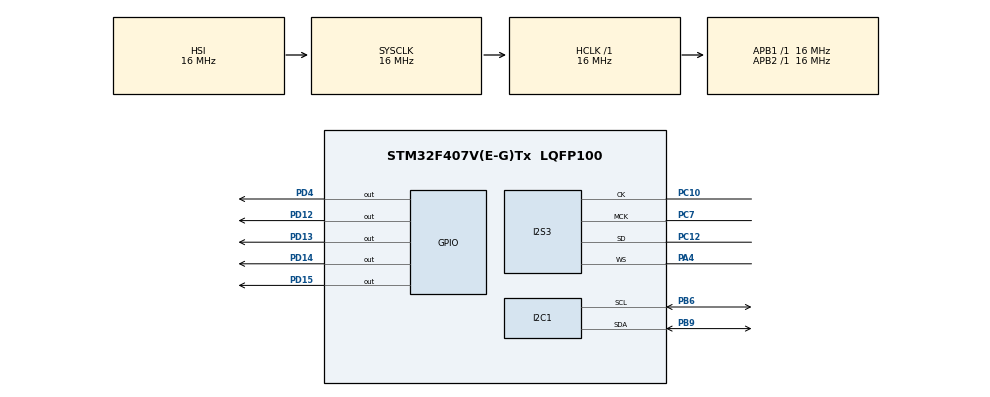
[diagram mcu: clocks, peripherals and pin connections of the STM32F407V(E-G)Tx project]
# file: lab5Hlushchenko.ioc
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Dma.Request0=SPI3_TX
Dma.SPI3_TX.0.Direction=DMA_MEMORY_TO_PERIPH
Dma.SPI3_TX.0.FIFOMode=DMA_FIFOMODE_ENABLE
Dma.SPI3_TX.0.FIFOThreshold=DMA_FIFO_THRESHOLD_FULL
Dma.SPI3_TX.0.Instance=DMA1_Stream5
Dma.SPI3_TX.0.MemBurst=DMA_MBURST_SINGLE
Dma.SPI3_TX.0.MemDataAlignment=DMA_MDATAALIGN_HALFWORD
Dma.SPI3_TX.0.MemInc=DMA_MINC_ENABLE
Dma.SPI3_TX.0.Mode=DMA_CIRCULAR
Dma.SPI3_TX.0.PeriphBurst=DMA_PBURST_SINGLE
Dma.SPI3_TX.0.PeriphDataAlignment=DMA_PDATAALIGN_HALFWORD
Dma.SPI3_TX.0.PeriphInc=DMA_PINC_DISABLE
Dma.SPI3_TX.0.Priority=DMA_PRIORITY_LOW
I2S3.AudioFreq=I2S_AUDIOFREQ_48K
I2S3.ErrorAudioFreq=-2.34 %
I2S3.FullDuplexMode=I2S_FULLDUPLEXMODE_DISABLE
I2S3.Instance=SPI$Index
I2S3.RealAudioFreq=46.875 KHz
I2S3.VirtualMode=I2S_MODE_MASTER
Mcu.Family=STM32F4
Mcu.Name=STM32F407V(E-G)Tx
Mcu.Package=LQFP100
NVIC.DMA1_Stream5_IRQn=true\:0\:0\:false\:false\:true\:false\:true\:true
NVIC.PriorityGroup=NVIC_PRIORITYGROUP_4
PA4.Mode=Half_Duplex_Master
PA4.Signal=I2S3_WS
PB6.Mode=I2C
PB6.Signal=I2C1_SCL
PB9.Mode=I2C
PB9.Signal=I2C1_SDA
PC10.Mode=Half_Duplex_Master
PC10.Signal=I2S3_CK
PC12.Mode=Half_Duplex_Master
PC12.Signal=I2S3_SD
PC7.Mode=Master_Clock_Activated
PC7.Signal=I2S3_MCK
PD12.Signal=GPIO_Output
PD13.Signal=GPIO_Output
PD14.Signal=GPIO_Output
PD15.Signal=GPIO_Output
PD4.Signal=GPIO_Output
ProjectManager.HeapSize=0x200
ProjectManager.StackSize=0x400
ProjectManager.TargetToolchain=STM32CubeIDE
RCC.AHBFreq_Value=16000000
RCC.APB1Freq_Value=16000000
RCC.APB2Freq_Value=16000000
RCC.CortexFreq_Value=16000000
RCC.HSE_VALUE=25000000
RCC.HSI_VALUE=16000000
RCC.LSE_VALUE=32768
RCC.SYSCLKFreq_VALUE=16000000
RCC.VCOOutputFreq_Value=192000000
board=custom

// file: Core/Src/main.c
/* USER CODE BEGIN Header */
/**
  ******************************************************************************
  * @file           : main.c
  * @brief          : Enhanced Music + LED Effects Controller
  * @description    : Plays musical melody with synchronized LED patterns
  ******************************************************************************
  */
/* USER CODE END Header */

#include "main.h"

/* USER CODE BEGIN PTD */
typedef enum {
    NOTE_C4, NOTE_C5, NOTE_D5, NOTE_E5,
    NOTE_F5, NOTE_G5, NOTE_A5, NOTE_B5,
    NOTE_C6, NOTE_D6, NOTE_E6, NOTE_F6,
    NOTE_G6, NOTE_A6, NOTE_B6, NOTES_MAX
} MusicNoteType;
/* USER CODE END PTD */

/* USER CODE BEGIN PD */
#define CS43L22_I2C_ADDRESS     0x94
#define I2C_COMMUNICATION_TIMEOUT    10

// LED Pin Definitions
#define LED_GREEN_PIN           GPIO_PIN_12
#define LED_ORANGE_PIN          GPIO_PIN_13
#define LED_RED_PIN             GPIO_PIN_14
#define LED_BLUE_PIN            GPIO_PIN_15
#define ALL_LEDS_MASK          (LED_GREEN_PIN | LED_ORANGE_PIN | LED_RED_PIN | LED_BLUE_PIN)
#define AUDIO_ENABLE_PIN        GPIO_PIN_4
/* USER CODE END PD */

I2C_HandleTypeDef hi2c1;
I2S_HandleTypeDef hi2s3;
DMA_HandleTypeDef hdma_spi3_tx;

/* USER CODE BEGIN PV */
int16_t audioBuffer[100] = {0};

// Musical timing constants
const uint32_t FULL_NOTE_DURATION = 214;
const uint32_t HALF_NOTE_DURATION = FULL_NOTE_DURATION >> 1;
const uint32_t QUARTER_NOTE_DURATION = FULL_NOTE_DURATION >> 2;

// Playback control variables
uint8_t melodyPlayCount = 0;
const uint8_t MAX_MELODY_PLAYS = 3;
/* USER CODE END PV */

void SystemClock_Config(void);
static void MX_GPIO_Init(void);
static void MX_DMA_Init(void);
static void MX_I2C1_Init(void);
static void MX_I2S3_Init(void);

/* USER CODE BEGIN PFP */
void AudioCodec_Initialize(void);
void AudioCodec_PlayTone(MusicNoteType note, uint32_t durationMs);
void LED_TurnOn(uint16_t ledPin);
void LED_TurnOff(uint16_t ledPin);
void LED_TurnOnAll(void);
void LED_TurnOffAll(void);
void PlayMelodyWithLEDs(void);
void RunLEDOnlyMode(void);
/* USER CODE END PFP */

/* USER CODE BEGIN 0 */

/**
 * @brief Initialize CS43L22 Audio Codec
 */
void AudioCodec_Initialize(void) {
    // Enable audio codec chip
    HAL_GPIO_WritePin(GPIOD, AUDIO_ENABLE_PIN, GPIO_PIN_SET);

    uint8_t configBuffer[2];

    // Audio codec initialization sequence
    configBuffer[0] = 0x0D; configBuffer[1] = 0x01;
    HAL_I2C_Master_Transmit(&hi2c1, CS43L22_I2C_ADDRESS, configBuffer, 2, I2C_COMMUNICATION_TIMEOUT);

    configBuffer[0] = 0x00; configBuffer[1] = 0x99;
    HAL_I2C_Master_Transmit(&hi2c1, CS43L22_I2C_ADDRESS, configBuffer, 2, I2C_COMMUNICATION_TIMEOUT);

    configBuffer[0] = 0x47; configBuffer[1] = 0x80;
    HAL_I2C_Master_Transmit(&hi2c1, CS43L22_I2C_ADDRESS, configBuffer, 2, I2C_COMMUNICATION_TIMEOUT);

    configBuffer[0] = 0x32; configBuffer[1] = 0xFF;
    HAL_I2C_Master_Transmit(&hi2c1, CS43L22_I2C_ADDRESS, configBuffer, 2, I2C_COMMUNICATION_TIMEOUT);

    configBuffer[0] = 0x32; configBuffer[1] = 0x7F;
    HAL_I2C_Master_Transmit(&hi2c1, CS43L22_I2C_ADDRESS, configBuffer, 2, I2C_COMMUNICATION_TIMEOUT);

    configBuffer[0] = 0x00; configBuffer[1] = 0x00;
    HAL_I2C_Master_Transmit(&hi2c1, CS43L22_I2C_ADDRESS, configBuffer, 2, I2C_COMMUNICATION_TIMEOUT);

    configBuffer[0] = 0x04; configBuffer[1] = 0xAF;
    HAL_I2C_Master_Transmit(&hi2c1, CS43L22_I2C_ADDRESS, configBuffer, 2, I2C_COMMUNICATION_TIMEOUT);

    configBuffer[0] = 0x0D; configBuffer[1] = 0x70;
    HAL_I2C_Master_Transmit(&hi2c1, CS43L22_I2C_ADDRESS, configBuffer, 2, I2C_COMMUNICATION_TIMEOUT);

    configBuffer[0] = 0x05; configBuffer[1] = 0x81;
    HAL_I2C_Master_Transmit(&hi2c1, CS43L22_I2C_ADDRESS, configBuffer, 2, I2C_COMMUNICATION_TIMEOUT);

    configBuffer[0] = 0x06; configBuffer[1] = 0x07;
    HAL_I2C_Master_Transmit(&hi2c1, CS43L22_I2C_ADDRESS, configBuffer, 2, I2C_COMMUNICATION_TIMEOUT);

    configBuffer[0] = 0x0A; configBuffer[1] = 0x00;
    HAL_I2C_Master_Transmit(&hi2c1, CS43L22_I2C_ADDRESS, configBuffer, 2, I2C_COMMUNICATION_TIMEOUT);

    configBuffer[0] = 0x27; configBuffer[1] = 0x00;
    HAL_I2C_Master_Transmit(&hi2c1, CS43L22_I2C_ADDRESS, configBuffer, 2, I2C_COMMUNICATION_TIMEOUT);

    configBuffer[0] = 0x1A; configBuffer[1] = 0x0A;
    HAL_I2C_Master_Transmit(&hi2c1, CS43L22_I2C_ADDRESS, configBuffer, 2, I2C_COMMUNICATION_TIMEOUT);

    configBuffer[0] = 0x1B; configBuffer[1] = 0x0A;
    HAL_I2C_Master_Transmit(&hi2c1, CS43L22_I2C_ADDRESS, configBuffer, 2, I2C_COMMUNICATION_TIMEOUT);

    configBuffer[0] = 0x1F; configBuffer[1] = 0x0F;
    HAL_I2C_Master_Transmit(&hi2c1, CS43L22_I2C_ADDRESS, configBuffer, 2, I2C_COMMUNICATION_TIMEOUT);

    configBuffer[0] = 0x02; configBuffer[1] = 0x9E;
    HAL_I2C_Master_Transmit(&hi2c1, CS43L22_I2C_ADDRESS, configBuffer, 2, I2C_COMMUNICATION_TIMEOUT);
}

/**
 * @brief Play a musical tone through the audio codec
 * @param note: Musical note to play
 * @param durationMs: Duration in milliseconds
 */
void AudioCodec_PlayTone(MusicNoteType note, uint32_t durationMs) {
    uint8_t commandBuffer[2];

    // Configure volume and off time
    commandBuffer[0] = 0x1D;
    commandBuffer[1] = 0x00;
    HAL_I2C_Master_Transmit(&hi2c1, CS43L22_I2C_ADDRESS, commandBuffer, 2, I2C_COMMUNICATION_TIMEOUT);

    // Set sound frequency based on note
    commandBuffer[0] = 0x1C;
    commandBuffer[1] = (note << 4);
    HAL_I2C_Master_Transmit(&hi2c1, CS43L22_I2C_ADDRESS, commandBuffer, 2, I2C_COMMUNICATION_TIMEOUT);

    // Enable continuous tone mode
    commandBuffer[0] = 0x1E;
    commandBuffer[1] = 0xC0;
    HAL_I2C_Master_Transmit(&hi2c1, CS43L22_I2C_ADDRESS, commandBuffer, 2, I2C_COMMUNICATION_TIMEOUT);

    // Play tone for specified duration
    HAL_Delay(durationMs);

    // Disable continuous tone mode
    commandBuffer[0] = 0x1E;
    commandBuffer[1] = 0x00;
    HAL_I2C_Master_Transmit(&hi2c1, CS43L22_I2C_ADDRESS, commandBuffer, 2, I2C_COMMUNICATION_TIMEOUT);
}

/**
 * @brief Turn on specific LED
 */
void LED_TurnOn(uint16_t ledPin) {
    HAL_GPIO_WritePin(GPIOD, ledPin, GPIO_PIN_SET);
}

/**
 * @brief Turn off specific LED
 */
void LED_TurnOff(uint16_t ledPin) {
    HAL_GPIO_WritePin(GPIOD, ledPin, GPIO_PIN_RESET);
}

/**
 * @brief Turn on all LEDs
 */
void LED_TurnOnAll(void) {
    HAL_GPIO_WritePin(GPIOD, ALL_LEDS_MASK, GPIO_PIN_SET);
}

/**
 * @brief Turn off all LEDs
 */
void LED_TurnOffAll(void) {
    HAL_GPIO_WritePin(GPIOD, ALL_LEDS_MASK, GPIO_PIN_RESET);
}

/**
 * @brief Run LED-only animation mode (after melody completion)
 */
void RunLEDOnlyMode(void) {
    // Sequential LED turn-on pattern
    LED_TurnOn(LED_GREEN_PIN);
    HAL_Delay(250);
    LED_TurnOn(LED_ORANGE_PIN);
    HAL_Delay(250);
    LED_TurnOn(LED_RED_PIN);
    HAL_Delay(250);
    LED_TurnOn(LED_BLUE_PIN);
    HAL_Delay(250);

    // Sequential LED turn-off pattern
    LED_TurnOff(LED_BLUE_PIN);
    HAL_Delay(250);
    LED_TurnOff(LED_RED_PIN);
    HAL_Delay(250);
    LED_TurnOff(LED_ORANGE_PIN);
    HAL_Delay(250);
    LED_TurnOff(LED_GREEN_PIN);
    HAL_Delay(250);
}

/**
 * @brief Play complete melody with synchronized LED effects
 */
void PlayMelodyWithLEDs(void) {
    // First phrase: C5-D5-E5-C5 (twice)
    for (int phrase = 0; phrase < 2; phrase++) {
        LED_TurnOn(LED_GREEN_PIN);
        AudioCodec_PlayTone(NOTE_C5, QUARTER_NOTE_DURATION);
        LED_TurnOff(LED_GREEN_PIN);
        HAL_Delay(QUARTER_NOTE_DURATION);

        LED_TurnOn(LED_ORANGE_PIN);
        AudioCodec_PlayTone(NOTE_D5, QUARTER_NOTE_DURATION);
        LED_TurnOff(LED_ORANGE_PIN);
        HAL_Delay(QUARTER_NOTE_DURATION);

        LED_TurnOn(LED_RED_PIN);
        AudioCodec_PlayTone(NOTE_E5, QUARTER_NOTE_DURATION);
        LED_TurnOff(LED_RED_PIN);
        HAL_Delay(QUARTER_NOTE_DURATION);

        LED_TurnOn(LED_BLUE_PIN);
        AudioCodec_PlayTone(NOTE_C5, QUARTER_NOTE_DURATION);
        LED_TurnOff(LED_BLUE_PIN);
        HAL_Delay(QUARTER_NOTE_DURATION);
    }

    // Second phrase: E5-F5-G5
    LED_TurnOn(LED_RED_PIN);
    AudioCodec_PlayTone(NOTE_E5, QUARTER_NOTE_DURATION);
    LED_TurnOff(LED_RED_PIN);
    HAL_Delay(QUARTER_NOTE_DURATION);

    LED_TurnOn(LED_BLUE_PIN);
    AudioCodec_PlayTone(NOTE_F5, QUARTER_NOTE_DURATION);
    LED_TurnOff(LED_BLUE_PIN);
    HAL_Delay(QUARTER_NOTE_DURATION);

    // G5 with all LEDs (longer note)
    LED_TurnOnAll();
    AudioCodec_PlayTone(NOTE_G5, HALF_NOTE_DURATION);
    LED_TurnOffAll();
    HAL_Delay(HALF_NOTE_DURATION);

    LED_TurnOn(LED_RED_PIN);
    AudioCodec_PlayTone(NOTE_E5, QUARTER_NOTE_DURATION);
    LED_TurnOff(LED_RED_PIN);
    HAL_Delay(QUARTER_NOTE_DURATION);

    // Third phrase: F5-G5-A5-G5
    LED_TurnOn(LED_BLUE_PIN);
    AudioCodec_PlayTone(NOTE_F5, QUARTER_NOTE_DURATION);
    LED_TurnOff(LED_BLUE_PIN);
    HAL_Delay(QUARTER_NOTE_DURATION);

    LED_TurnOn(LED_GREEN_PIN);
    AudioCodec_PlayTone(NOTE_G5, QUARTER_NOTE_DURATION);
    LED_TurnOff(LED_GREEN_PIN);
    HAL_Delay(QUARTER_NOTE_DURATION);

    // A5 with all LEDs (longer note)
    LED_TurnOnAll();
    AudioCodec_PlayTone(NOTE_A5, HALF_NOTE_DURATION);
    LED_TurnOffAll();
    HAL_Delay(HALF_NOTE_DURATION);

    LED_TurnOn(LED_GREEN_PIN);
    AudioCodec_PlayTone(NOTE_G5, QUARTER_NOTE_DURATION);
    LED_TurnOff(LED_GREEN_PIN);
    HAL_Delay(QUARTER_NOTE_DURATION);

    // Final phrase: F5-A5-F5-D5 (repeated twice)
    for (int repeat = 0; repeat < 2; repeat++) {
        LED_TurnOn(LED_BLUE_PIN);
        AudioCodec_PlayTone(NOTE_F5, QUARTER_NOTE_DURATION);
        LED_TurnOff(LED_BLUE_PIN);
        HAL_Delay(QUARTER_NOTE_DURATION);

        HAL_GPIO_WritePin(GPIOD, LED_GREEN_PIN | LED_ORANGE_PIN, GPIO_PIN_SET);
        AudioCodec_PlayTone(NOTE_A5, QUARTER_NOTE_DURATION);
        HAL_GPIO_WritePin(GPIOD, LED_GREEN_PIN | LED_ORANGE_PIN, GPIO_PIN_RESET);
        HAL_Delay(QUARTER_NOTE_DURATION);

        LED_TurnOn(LED_BLUE_PIN);
        AudioCodec_PlayTone(NOTE_F5, QUARTER_NOTE_DURATION);
        LED_TurnOff(LED_BLUE_PIN);
        HAL_Delay(QUARTER_NOTE_DURATION);

        LED_TurnOn(LED_ORANGE_PIN);
        AudioCodec_PlayTone(NOTE_D5, QUARTER_NOTE_DURATION);
        LED_TurnOff(LED_ORANGE_PIN);
        HAL_Delay(QUARTER_NOTE_DURATION);
    }
}

/* USER CODE END 0 */

/**
 * @brief Main program entry point
 */
int main(void) {
    // System initialization
    HAL_Init();
    SystemClock_Config();
    MX_GPIO_Init();
    MX_DMA_Init();
    MX_I2C1_Init();
    MX_I2S3_Init();

    // Initialize audio codec and start DMA transmission
    AudioCodec_Initialize();
    HAL_I2S_Transmit_DMA(&hi2s3, (uint16_t *)audioBuffer, 100);

    // Main program loop
    while (1) {
        // Check if maximum melody plays reached
        if (melodyPlayCount >= MAX_MELODY_PLAYS) {
            // Switch to LED-only mode after completing melody cycles
            RunLEDOnlyMode();
            continue;
        }

        // Play melody with synchronized LEDs
        PlayMelodyWithLEDs();

        // Increment play counter
        melodyPlayCount++;

        // Pause between melody repetitions
        HAL_Delay(1000);
    }
}

static void MX_GPIO_Init(void) {
    GPIO_InitTypeDef GPIO_InitStruct = {0};

    /* GPIO Ports Clock Enable */
    __HAL_RCC_GPIOA_CLK_ENABLE();
    __HAL_RCC_GPIOC_CLK_ENABLE();
    __HAL_RCC_GPIOD_CLK_ENABLE();
    __HAL_RCC_GPIOB_CLK_ENABLE();

    /* Configure GPIO pin Output Level */
    HAL_GPIO_WritePin(GPIOD, AUDIO_ENABLE_PIN, GPIO_PIN_RESET);
    HAL_GPIO_WritePin(GPIOD, ALL_LEDS_MASK, GPIO_PIN_RESET);

    /* Configure GPIO pins for audio enable and LEDs */
    GPIO_InitStruct.Pin = AUDIO_ENABLE_PIN | ALL_LEDS_MASK;
    GPIO_InitStruct.Mode = GPIO_MODE_OUTPUT_PP;
    GPIO_InitStruct.Pull = GPIO_NOPULL;
    GPIO_InitStruct.Speed = GPIO_SPEED_FREQ_LOW;
    HAL_GPIO_Init(GPIOD, &GPIO_InitStruct);
}

void SystemClock_Config(void) {
    RCC_OscInitTypeDef RCC_OscInitStruct = {0};
    RCC_ClkInitTypeDef RCC_ClkInitStruct = {0};

    __HAL_RCC_PLL_PLLM_CONFIG(16);
    __HAL_RCC_PLL_PLLSOURCE_CONFIG(RCC_PLLSOURCE_HSI);
    __HAL_RCC_PWR_CLK_ENABLE();
    __HAL_PWR_VOLTAGESCALING_CONFIG(PWR_REGULATOR_VOLTAGE_SCALE1);

    RCC_OscInitStruct.OscillatorType = RCC_OSCILLATORTYPE_HSI;
    RCC_OscInitStruct.HSIState = RCC_HSI_ON;
    RCC_OscInitStruct.HSICalibrationValue = RCC_HSICALIBRATION_DEFAULT;
    RCC_OscInitStruct.PLL.PLLState = RCC_PLL_NONE;
    RCC_OscInitStruct.PLL.PLLSource = RCC_PLLSOURCE_HSI;
    if (HAL_RCC_OscConfig(&RCC_OscInitStruct) != HAL_OK) {
        Error_Handler();
    }

    RCC_ClkInitStruct.ClockType = RCC_CLOCKTYPE_HCLK | RCC_CLOCKTYPE_SYSCLK |
                                  RCC_CLOCKTYPE_PCLK1 | RCC_CLOCKTYPE_PCLK2;
    RCC_ClkInitStruct.SYSCLKSource = RCC_SYSCLKSOURCE_HSI;
    RCC_ClkInitStruct.AHBCLKDivider = RCC_SYSCLK_DIV1;
    RCC_ClkInitStruct.APB1CLKDivider = RCC_HCLK_DIV1;
    RCC_ClkInitStruct.APB2CLKDivider = RCC_HCLK_DIV1;

    if (HAL_RCC_ClockConfig(&RCC_ClkInitStruct, FLASH_LATENCY_0) != HAL_OK) {
        Error_Handler();
    }
}

static void MX_I2C1_Init(void) {
    hi2c1.Instance = I2C1;
    hi2c1.Init.ClockSpeed = 100000;
    hi2c1.Init.DutyCycle = I2C_DUTYCYCLE_2;
    hi2c1.Init.OwnAddress1 = 0;
    hi2c1.Init.AddressingMode = I2C_ADDRESSINGMODE_7BIT;
    hi2c1.Init.DualAddressMode = I2C_DUALADDRESS_DISABLE;
    hi2c1.Init.OwnAddress2 = 0;
    hi2c1.Init.GeneralCallMode = I2C_GENERALCALL_DISABLE;
    hi2c1.Init.NoStretchMode = I2C_NOSTRETCH_DISABLE;
    if (HAL_I2C_Init(&hi2c1) != HAL_OK) {
        Error_Handler();
    }
}

static void MX_I2S3_Init(void) {
    hi2s3.Instance = SPI3;
    hi2s3.Init.Mode = I2S_MODE_MASTER_TX;
    hi2s3.Init.Standard = I2S_STANDARD_PHILIPS;
    hi2s3.Init.DataFormat = I2S_DATAFORMAT_16B;
    hi2s3.Init.MCLKOutput = I2S_MCLKOUTPUT_ENABLE;
    hi2s3.Init.AudioFreq = I2S_AUDIOFREQ_48K;
    hi2s3.Init.CPOL = I2S_CPOL_LOW;
    hi2s3.Init.ClockSource = I2S_CLOCK_PLL;
    hi2s3.Init.FullDuplexMode = I2S_FULLDUPLEXMODE_DISABLE;
    if (HAL_I2S_Init(&hi2s3) != HAL_OK) {
        Error_Handler();
    }
}

static void MX_DMA_Init(void) {
    __HAL_RCC_DMA1_CLK_ENABLE();
    HAL_NVIC_SetPriority(DMA1_Stream5_IRQn, 0, 0);
    HAL_NVIC_EnableIRQ(DMA1_Stream5_IRQn);
}

/**
 * @brief Error Handler Function
 */
void Error_Handler(void) {
    __disable_irq();
    while (1) {
        // Stay in error state
    }
}
